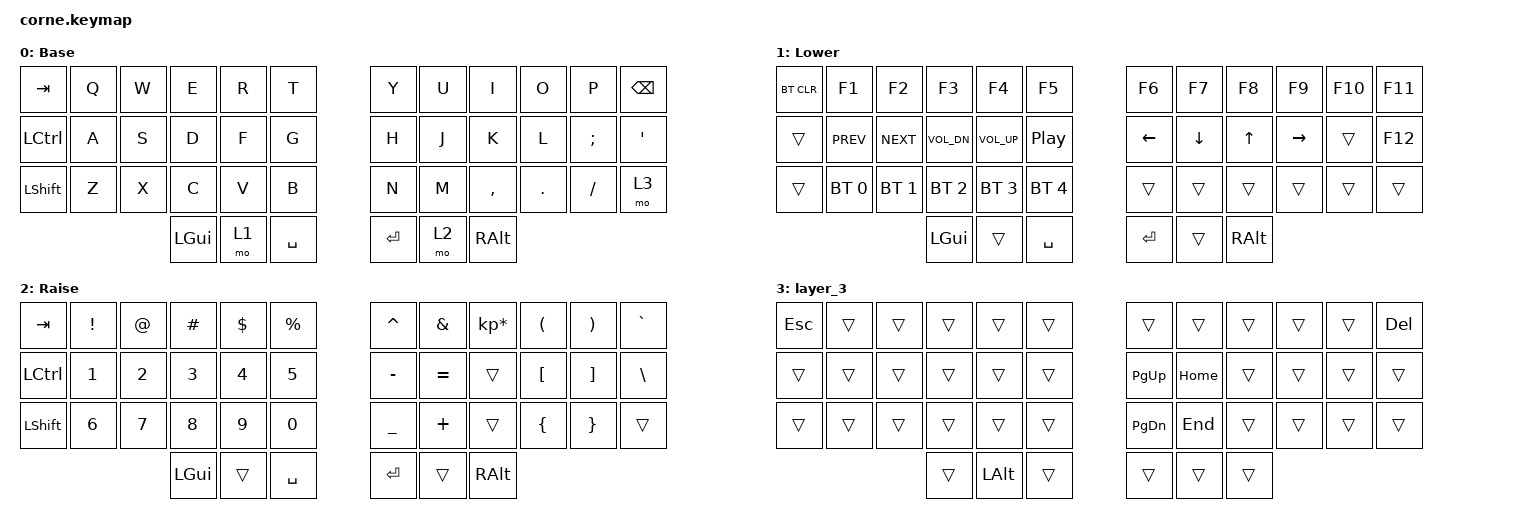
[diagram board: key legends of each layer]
/*
 * Copyright (c) 2020 The ZMK Contributors
 *
 * SPDX-License-Identifier: MIT
 */

#include <behaviors.dtsi>
#include <dt-bindings/zmk/bt.h>
#include <dt-bindings/zmk/keys.h>

/ {
    keymap {
        compatible = "zmk,keymap";

        default_layer {
            // -----------------------------------------------------------------------------------------
            // |  TAB |  Q  |  W  |  E  |  R  |  T  |   |  Y  |  U   |  I  |  O  |  P  | BKSP |
            // | CTRL |  A  |  S  |  D  |  F  |  G  |   |  H  |  J   |  K  |  L  |  ;  |  '   |
            // | SHFT |  Z  |  X  |  C  |  V  |  B  |   |  N  |  M   |  ,  |  .  |  /  | ESC  |
            //                    | GUI | LWR | SPC |   | ENT | RSE  | ALT |

            display-name = "Base";
            bindings = <
&kp TAB    &kp Q  &kp W  &kp E     &kp R  &kp T        &kp Y    &kp U  &kp I      &kp O    &kp P     &kp BSPC
&kp LCTRL  &kp A  &kp S  &kp D     &kp F  &kp G        &kp H    &kp J  &kp K      &kp L    &kp SEMI  &kp SQT
&kp LSHFT  &kp Z  &kp X  &kp C     &kp V  &kp B        &kp N    &kp M  &kp COMMA  &kp DOT  &kp FSLH  &mo 3
                         &kp LGUI  &mo 1  &kp SPACE    &kp RET  &mo 2  &kp RALT
            >;
        };

        lower_layer {
            // -----------------------------------------------------------------------------------------
            // |  TAB |  1  |  2  |  3  |  4  |  5  |   |  6  |  7  |  8  |  9  |  0  | BKSP |
            // | BTCLR| BT1 | BT2 | BT3 | BT4 | BT5 |   | LFT | DWN |  UP | RGT |     |      |
            // | SHFT |     |     |     |     |     |   |     |     |     |     |     |      |
            //                    | GUI |     | SPC |   | ENT |     | ALT |

            display-name = "Lower";
            bindings = <
&bt BT_CLR  &kp F1        &kp F2        &kp F3        &kp F4        &kp F5          &kp F6    &kp F7    &kp F8    &kp F9     &kp F10  &kp F11
&trans      &kp C_PREV    &kp C_NEXT    &kp C_VOL_DN  &kp C_VOL_UP  &kp C_PP        &kp LEFT  &kp DOWN  &kp UP    &kp RIGHT  &trans   &kp F12
&trans      &bt BT_SEL 0  &bt BT_SEL 1  &bt BT_SEL 2  &bt BT_SEL 3  &bt BT_SEL 4    &trans    &trans    &trans    &trans     &trans   &trans
                                        &kp LGUI      &trans        &kp SPACE       &kp RET   &trans    &kp RALT
            >;
        };

        raise_layer {
            // -----------------------------------------------------------------------------------------
            // |  TAB |  !  |  @  |  #  |  $  |  %  |   |  ^  |  &  |  *  |  (  |  )  | BKSP |
            // | CTRL |     |     |     |     |     |   |  -  |  =  |  [  |  ]  |  \  |  `   |
            // | SHFT |     |     |     |     |     |   |  _  |  +  |  {  |  }  | "|" |  ~   |
            //                    | GUI |     | SPC |   | ENT |     | ALT |

            display-name = "Raise";
            bindings = <
&kp TAB    &kp EXCL      &kp AT        &kp HASH      &kp DLLR      &kp PRCNT    &kp CARET  &kp AMPS   &kp KP_MULTIPLY  &kp LPAR  &kp RPAR  &kp GRAVE
&kp LCTRL  &kp NUMBER_1  &kp NUMBER_2  &kp NUMBER_3  &kp NUMBER_4  &kp N5       &kp MINUS  &kp EQUAL  &trans           &kp LBKT  &kp RBKT  &kp BSLH
&kp LSHFT  &kp NUMBER_6  &kp N7        &kp N8        &kp N9        &kp N0       &kp UNDER  &kp PLUS   &trans           &kp LBRC  &kp RBRC  &trans
                                       &kp LGUI      &trans        &kp SPACE    &kp RET    &trans     &kp RALT
            >;
        };

        layer_3 {
            bindings = <
&kp ESC  &trans  &trans  &trans  &trans    &trans    &trans     &trans    &trans  &trans  &trans  &kp DEL
&trans   &trans  &trans  &trans  &trans    &trans    &kp PG_UP  &kp HOME  &trans  &trans  &trans  &trans
&trans   &trans  &trans  &trans  &trans    &trans    &kp PG_DN  &kp END   &trans  &trans  &trans  &trans
                         &trans  &kp LALT  &trans    &trans     &trans    &trans
            >;
        };
    };
};
